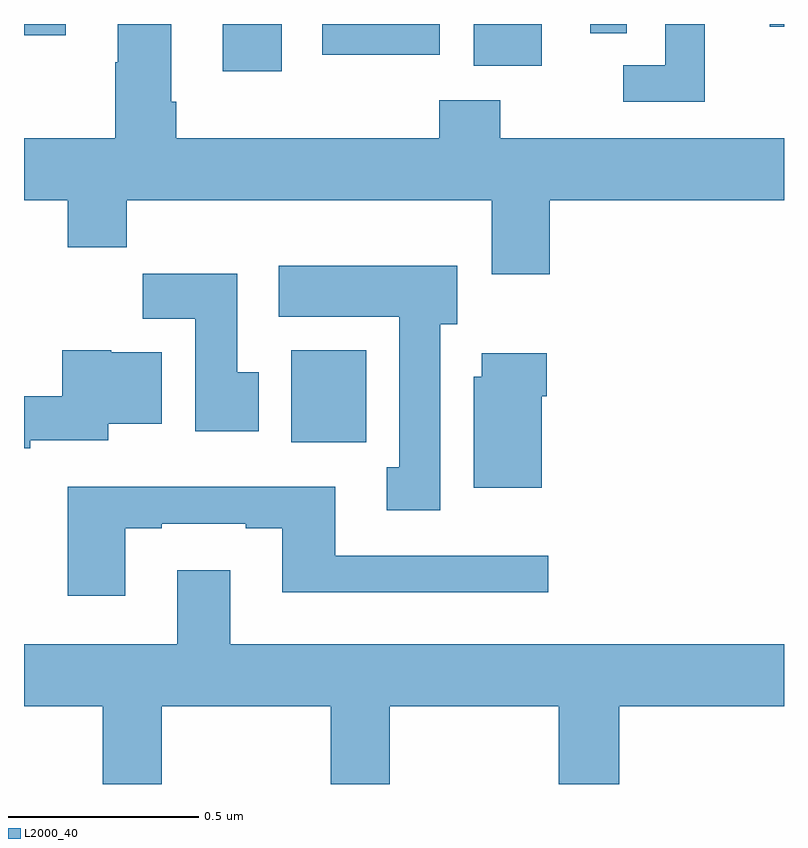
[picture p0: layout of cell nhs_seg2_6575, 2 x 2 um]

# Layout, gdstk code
import gdstk
lib = gdstk.Library(unit=1e-6, precision=1e-09)
def R(c, l, rs):  # rectangles x0, y0, x1, y1
    for r in rs: c.add(gdstk.rectangle(r[:2], r[2:], *l))
def P(c, l, *ps):  # polygons
    for p in ps: c.add(gdstk.Polygon(p, *l))
L2000_40 = (2000, 40)

nhs_seg2_6575 = lib.new_cell('nhs_seg2_6575')
R(nhs_seg2_6575, L2000_40, [(193.703,613.7,193.9,613.942), (193.523,614.676,193.678,614.8), (194.183,614.69,194.362,614.8), (193.785,614.719,194.094,614.8), (193,614.771,193.11,614.8), (194.49,614.776,194.586,614.8), (194.963,614.793,195,614.8)])
P(nhs_seg2_6575, L2000_40, [(194.384,614.336),(195,614.336),(195,614.5),(194.253,614.5),(194.253,614.599),(194.093,614.599),(194.093,614.5),(193.4,614.5),(193.4,614.596),(193.387,614.596),(193.387,614.8),(193.247,614.8),(193.247,614.699),(193.24,614.699),(193.24,614.5),(193,614.5),(193,614.336),(193.115,614.336),(193.115,614.212),(193.271,614.212),(193.271,614.336),(194.231,614.336),(194.231,614.142),(194.384,614.142)],
  [(194.791,614.8),(194.687,614.8),(194.687,614.691),(194.577,614.691),(194.577,614.595),(194.791,614.595)],
  [(194.095,614.01),(194.14,614.01),(194.14,614.164),(193.671,614.164),(193.671,614.03),(193.988,614.03),(193.988,613.634),(193.955,613.634),(193.955,613.521),(194.095,613.521)],
  [(193.618,613.884),(193.561,613.884),(193.561,614.143),(193.312,614.143),(193.312,614.024),(193.451,614.024),(193.451,613.728),(193.618,613.728)],
  [(193.016,613.704),(193.222,613.704),(193.222,613.748),(193.363,613.748),(193.363,613.936),(193.23,613.936),(193.23,613.942),(193.1,613.942),(193.1,613.82),(193,613.82),(193,613.684),(193.016,613.684)],
  [(194.362,613.82),(194.375,613.82),(194.375,613.933),(194.204,613.933),(194.204,613.872),(194.183,613.872),(194.183,613.58),(194.362,613.58)],
  [(193.267,613.473),(193.363,613.473),(193.363,613.485),(193.583,613.485),(193.583,613.473),(193.679,613.473),(193.679,613.304),(194.38,613.304),(194.38,613.401),(193.819,613.401),(193.819,613.582),(193.115,613.582),(193.115,613.296),(193.267,613.296)],
  [(193.362,613.004),(193.807,613.004),(193.807,612.8),(193.962,612.8),(193.962,613.004),(194.407,613.004),(194.407,612.8),(194.567,612.8),(194.567,613.004),(195,613.004),(195,613.168),(193.543,613.168),(193.543,613.363),(193.403,613.363),(193.403,613.168),(193,613.168),(193,613.004),(193.207,613.004),(193.207,612.8),(193.362,612.8)])

lib.write_gds('nhs_seg2_6575.gds')
